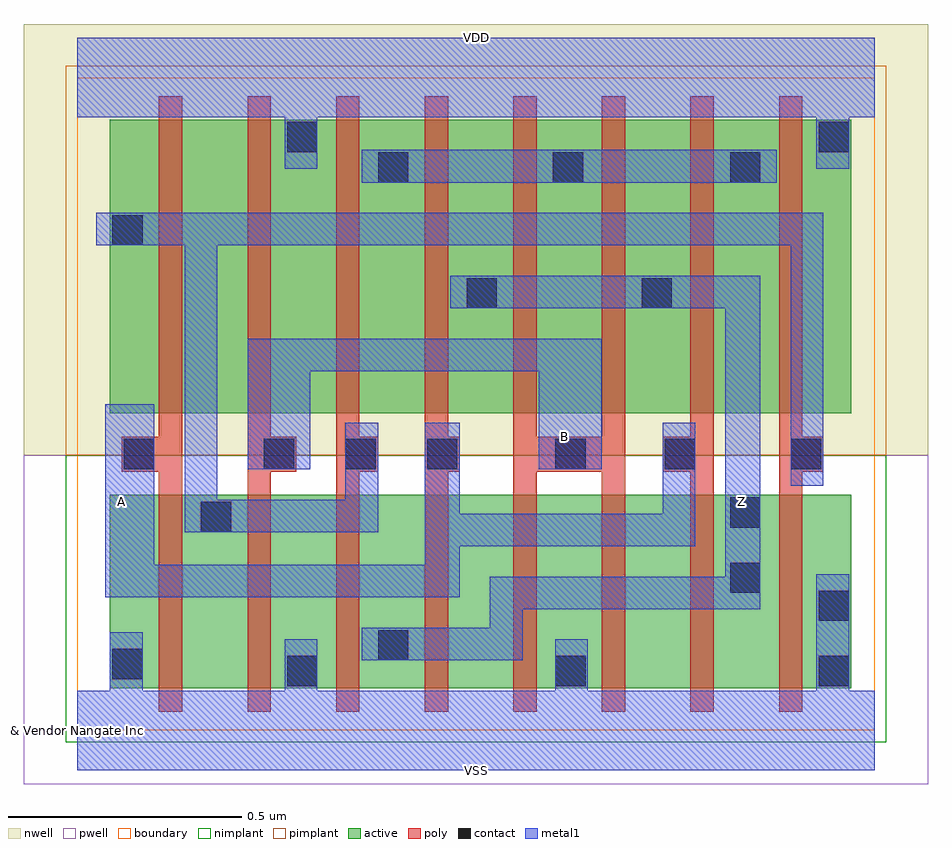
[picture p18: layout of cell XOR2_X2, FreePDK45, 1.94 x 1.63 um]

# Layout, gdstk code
import gdstk
lib = gdstk.Library(unit=1e-6, precision=1e-10)
def R(c, l, rs):  # rectangles x0, y0, x1, y1
    for r in rs: c.add(gdstk.rectangle(r[:2], r[2:], *l))
def A(c, l, x, y, w, h, nx, ny, dx, dy):  # array of equal rectangles
    R(c, l, [(x+i*dx, y+j*dy, x+i*dx+w, y+j*dy+h) for i in range(nx) for j in range(ny)])
def P(c, l, *ps):  # polygons
    for p in ps: c.add(gdstk.Polygon(p, *l))
active = (1, 0)
pwell = (2, 0)
nwell = (3, 0)
nimplant = (4, 0)
pimplant = (5, 0)
poly = (9, 0)
contact = (10, 0)
metal1 = (11, 0)
boundary = (235, 0)

xor2_x2 = lib.new_cell('XOR2_X2')
R(xor2_x2, active, [(0.07,0.09,1.66,0.505), (0.07,0.68,1.66,1.31)])
R(xor2_x2, pwell, [(-0.115,-0.115,1.825,0.59)])
R(xor2_x2, nwell, [(-0.115,0.59,1.825,1.515)])
R(xor2_x2, nimplant, [(-0.025,-0.025,1.735,0.59)])
R(xor2_x2, pimplant, [(-0.025,0.59,1.735,1.425)])
P(xor2_x2, poly, [(0.175,0.04),(0.175,0.555),(0.095,0.555),(0.095,0.63),(0.175,0.63),(0.175,1.36),(0.225,1.36),(0.225,0.04)],
  [(0.365,0.04),(0.365,1.36),(0.415,1.36),(0.415,0.63),(0.47,0.63),(0.47,0.555),(0.415,0.555),(0.415,0.04)],
  [(0.555,0.04),(0.555,1.36),(0.605,1.36),(0.605,0.63),(0.645,0.63),(0.645,0.555),(0.605,0.555),(0.605,0.04)],
  [(0.745,0.04),(0.745,1.36),(0.795,1.36),(0.795,0.63),(0.82,0.63),(0.82,0.555),(0.795,0.555),(0.795,0.04)],
  [(0.935,0.04),(0.935,1.36),(0.985,1.36),(0.985,0.63),(1.125,0.63),(1.125,1.36),(1.175,1.36),(1.175,0.04),(1.125,0.04),(1.125,0.555),(0.985,0.555),(0.985,0.04)],
  [(1.315,0.04),(1.315,0.555),(1.255,0.555),(1.255,0.63),(1.315,0.63),(1.315,1.36),(1.365,1.36),(1.365,0.04)],
  [(1.505,0.04),(1.505,1.36),(1.555,1.36),(1.555,0.63),(1.6,0.63),(1.6,0.555),(1.555,0.555),(1.555,0.04)])
A(xor2_x2, contact, 0.4, 0.56, 0.065, 0.065, 3, 1, 0.175, 0)
R(xor2_x2, contact, [(0.45,0.095,0.515,0.16), (1.025,0.095,1.09,0.16), (1.59,0.095,1.655,0.16), (0.075,0.11,0.14,0.175), (0.645,0.15,0.71,0.215), (1.59,0.235,1.655,0.3), (1.4,0.295,1.465,0.36), (0.265,0.425,0.33,0.49), (1.4,0.435,1.465,0.5), (0.1,0.56,0.165,0.625), (1.025,0.56,1.09,0.625), (1.26,0.56,1.325,0.625), (1.53,0.56,1.595,0.625), (0.835,0.905,0.9,0.97), (1.21,0.905,1.275,0.97), (0.075,1.04,0.14,1.105), (0.645,1.175,0.71,1.24), (1.02,1.175,1.085,1.24), (1.4,1.175,1.465,1.24), (0.45,1.24,0.515,1.305), (1.59,1.24,1.655,1.305)])
R(xor2_x2, metal1, [(0.61,1.175,1.5,1.245)])
P(xor2_x2, metal1, [(0.365,0.56),(0.365,0.84),(1.125,0.84),(1.125,0.56),(0.99,0.56),(0.99,0.77),(0.5,0.77),(0.5,0.56)],
  [(0.06,0.285),(0.06,0.7),(0.165,0.7),(0.165,0.355),(0.745,0.355),(0.745,0.66),(0.82,0.66),(0.82,0.465),(1.255,0.465),(1.255,0.66),(1.325,0.66),(1.325,0.395),(0.82,0.395),(0.82,0.285)],
  [(0.61,0.15),(0.61,0.22),(0.885,0.22),(0.885,0.33),(1.39,0.33),(1.39,0.905),(0.8,0.905),(0.8,0.975),(1.465,0.975),(1.465,0.26),(0.955,0.26),(0.955,0.15)],
  [(0.23,0.425),(0.23,1.04),(0.04,1.04),(0.04,1.11),(1.6,1.11),(1.6,0.525),(1.53,0.525),(1.53,1.04),(0.3,1.04),(0.3,0.495),(0.575,0.495),(0.575,0.66),(0.645,0.66),(0.645,0.425)],
  [(0,-0.085),(0,0.085),(0.07,0.085),(0.07,0.21),(0.14,0.21),(0.14,0.085),(0.445,0.085),(0.445,0.195),(0.515,0.195),(0.515,0.085),(1.025,0.085),(1.025,0.195),(1.095,0.195),(1.095,0.085),(1.585,0.085),(1.585,0.335),(1.655,0.335),(1.655,0.085),(1.71,0.085),(1.71,-0.085)],
  [(0.445,1.205),(0.445,1.315),(0,1.315),(0,1.485),(1.71,1.485),(1.71,1.315),(1.655,1.315),(1.655,1.205),(1.585,1.205),(1.585,1.315),(0.515,1.315),(0.515,1.205)])
R(xor2_x2, boundary, [(0,0,1.71,1.4)])
xor2_x2.add(gdstk.Label('A', (0.095,0.49), layer=11, texttype=0))
xor2_x2.add(gdstk.Label('B', (1.045,0.63), layer=11, texttype=0))
xor2_x2.add(gdstk.Label('VDD', (0.855,1.485), layer=11, texttype=0))
xor2_x2.add(gdstk.Label('VSS', (0.855,-0.085), layer=11, texttype=0))
xor2_x2.add(gdstk.Label('Z', (1.425,0.49), layer=11, texttype=0))
xor2_x2.add(gdstk.Label('& Vendor Nangate Inc', (0,0), layer=63, texttype=63))
xor2_x2.add(gdstk.Label('& Product Open Cell Library', (0,0), layer=63, texttype=63))
xor2_x2.add(gdstk.Label('& Version 2010_12', (0,0), layer=63, texttype=63))
xor2_x2.add(gdstk.Label('& Instance XOR2_X2', (0,0), layer=63, texttype=63))

lib.write_gds('XOR2_X2.gds')
